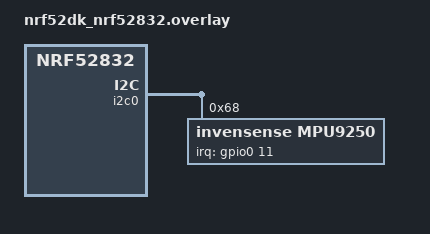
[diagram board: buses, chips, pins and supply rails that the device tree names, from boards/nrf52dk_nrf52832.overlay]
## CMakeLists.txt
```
#
# Copyright (c) 2019 Nordic Semiconductor ASA
#
# SPDX-License-Identifier: Apache-2.0
#

cmake_minimum_required(VERSION 3.20.0)
find_package(Zephyr REQUIRED HINTS $ENV{ZEPHYR_BASE})
project(mpu9250)

FILE(GLOB app_sources src/*.c)
target_sources(app PRIVATE ${app_sources})
```

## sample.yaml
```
#
# Copyright (c) 2019 Nordic Semiconductor ASA
#
# SPDX-License-Identifier: Apache-2.0
#

sample:
  name: MPU9250 Sensor Sample
tests:
  sample.sensor.mpu9250:
    build_only: true
    platform_allow: nrf52dk_nrf52832
    tags: sensors
    integration_platforms:
      - nrf52dk_nrf52832
```

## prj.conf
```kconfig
#
# Copyright (c) 2019 Nordic Semiconductor ASA
#
# SPDX-License-Identifier: Apache-2.0
#

CONFIG_I2C=y
CONFIG_SENSOR=y
CONFIG_MPU9250_TRIGGER_OWN_THREAD=y
CONFIG_CBPRINTF_FP_SUPPORT=y
```

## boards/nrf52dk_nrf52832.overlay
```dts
/*
 * Copyright (c) 2019 Nordic Semiconductor ASA
 *
 * SPDX-License-Identifier: Apache-2.0
 */
 &i2c0 {
    mpu9250@68 {
    compatible = "invensense,mpu9250";
    reg = <0x68>;
    status = "okay";
    label = "MPU9250";
    irq-gpios = <&gpio0 11 GPIO_ACTIVE_HIGH>;
    gyro-sr-div = < 10 >;
    //gyro-sr-div-min = < 0 >;
    gyro-dlpf = < 250 >;
    gyro-fs = < 500 >;
    accel-fs = < 2 >;
    accel-dlpf = "218.1";
};
};
```

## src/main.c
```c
/*
 * Copyright (c) 2019 Nordic Semiconductor ASA
 *
 * SPDX-License-Identifier: Apache-2.0
 */

#include <zephyr/kernel.h>
#include <zephyr/device.h>
#include <zephyr/drivers/sensor.h>
#include <stdio.h>

static const char *now_str(void)
{
	static char buf[16]; /* ...HH:MM:SS.MMM */
	uint32_t now = k_uptime_get_32();
	unsigned int ms = now % MSEC_PER_SEC;
	unsigned int s;
	unsigned int min;
	unsigned int h;
	unsigned int uT;

	now /= MSEC_PER_SEC;
	s = now % 60U;
	now /= 60U;
	min = now % 60U;
	now /= 60U;
	h = now;

	snprintf(buf, sizeof(buf), "%u:%02u:%02u.%03u",
		 h, min, s, ms);
	return buf;
}

static int process_mpu9250(const struct device *dev)
{
	struct sensor_value temperature;
	struct sensor_value accel[3];
	struct sensor_value gyro[3];
	struct sensor_value magn[3];
	int rc = sensor_sample_fetch(dev);

	if (rc == 0) {
		rc = sensor_channel_get(dev, SENSOR_CHAN_ACCEL_XYZ,
					accel);
	}
	if (rc == 0) {
		rc = sensor_channel_get(dev, SENSOR_CHAN_GYRO_XYZ,
					gyro);
	}
	if (rc == 0) {
		rc = sensor_channel_get(dev, SENSOR_CHAN_MAGN_XYZ,
					magn);
	}
	if (rc == 0) {
		rc = sensor_channel_get(dev, SENSOR_CHAN_AMBIENT_TEMP,
					&temperature);
	}
	if (rc == 0) {
		printf("[%s]:%g Cel\n"
		       "  accel %f %f %f m/s/s\n"
		       "  gyro  %f %f %f rad/s\n"
			   "  magn  %f %f %f uT",
		       now_str(),
		       sensor_value_to_double(&temperature),
		       sensor_value_to_double(&accel[0]),
		       sensor_value_to_double(&accel[1]),
		       sensor_value_to_double(&accel[2]),
		       sensor_value_to_double(&gyro[0]),
			   sensor_value_to_double(&gyro[1]),
		       sensor_value_to_double(&gyro[2]),
			   sensor_value_to_double(&magn[0]),
		       sensor_value_to_double(&magn[1]),
		       sensor_value_to_double(&magn[2]));
	} else {
		printf("sample fetch/get failed: %d\n", rc);
	}

	return rc;
}

#ifdef CONFIG_MPU9250_TRIGGER
static struct sensor_trigger trigger;

static void handle_mpu9250_drdy(const struct device *dev,
				const struct sensor_trigger *trig)
{
	int rc = process_mpu9250(dev);

	if (rc != 0) {
		printf("cancelling trigger due to failure: %d\n", rc);
		(void)sensor_trigger_set(dev, trig, NULL);
		return;
	}
}
#endif /* CONFIG_MPU9250_TRIGGER */

int main(void)
{
	const struct device *const mpu9250 = DEVICE_DT_GET_ONE(invensense_mpu9250);

	if (!device_is_ready(mpu9250)) {
		printf("Device %s is not ready\n", mpu9250->name);
		return 0;
	}

#ifdef CONFIG_MPU9250_TRIGGER
	trigger = (struct sensor_trigger) {
		.type = SENSOR_TRIG_DATA_READY,
		.chan = SENSOR_CHAN_ALL,
	};
	if (sensor_trigger_set(mpu9250, &trigger,
			       handle_mpu9250_drdy) < 0) {
		printf("Cannot configure trigger\n");
		return 0;
	}
	printk("Configured for triggered sampling.\n");
#endif

	while (!IS_ENABLED(CONFIG_MPU9250_TRIGGER)) {
		int rc = process_mpu9250(mpu9250);

		if (rc != 0) {
			break;
		}
		k_sleep(K_SECONDS(2));
	}

	/* triggered runs with its own thread after exit */
	return 0;
}
```
